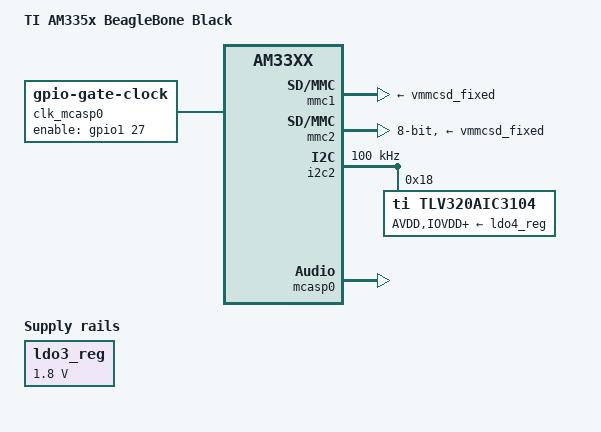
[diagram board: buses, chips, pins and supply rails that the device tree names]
/*
 * Copyright (C) 2012 Texas Instruments Incorporated - http://www.ti.com/
 *
 * This program is free software; you can redistribute it and/or modify
 * it under the terms of the GNU General Public License version 2 as
 * published by the Free Software Foundation.
 */
/dts-v1/;

#include "am33xx.dtsi"
#include "am335x-bone-common.dtsi"

/ {
	model = "TI AM335x BeagleBone Black";
	compatible = "ti,am335x-bone-black", "ti,am335x-bone", "ti,am33xx";
};

&ldo3_reg {
	regulator-min-microvolt = <1800000>;
	regulator-max-microvolt = <1800000>;
	regulator-always-on;
};

&mmc1 {
	vmmc-supply = <&vmmcsd_fixed>;
};

&mmc2 {
	vmmc-supply = <&vmmcsd_fixed>;
	pinctrl-names = "default";
	pinctrl-0 = <&emmc_pins>;
	bus-width = <8>;
	status = "okay";
};

&am33xx_pinmux {
	i2c2_pins: pinmux_i2c2_pins {
		pinctrl-single,pins = <
			0x150 0x72 	/*spi0_scl.i2c2_sda,SLEWCTRL_SLOW | INPUT_PULLUP |MODE2*/
			0x154 0x72	/*spi0_d0.i2c2_scl,SLEWCTRL_SLOW | INPUT_PULLUP | MODE2*/
		>;
	};

	bone_audio_cape_audio_pins: pinmux_bone_audio_cape_audio_pins {
		pinctrl-single,pins = <
			0x1ac 0x00      /* mcasp0_ahclkx,             MODE0 | INPUT */
			0x19c 0x22		/* mcasp0_ahclkr, */
			0x194 0x20      /* mcasp0_fsx,         	      MODE0 | OUTPUT  */
			0x190 0x20      /* mcasp0_aclkr.mcasp0_aclkx, MODE0 | OUTPUT_PULLDOWN */
			0x198 0x20
		>;
	};
};

&i2c2 {
	#address-cells = <1>;
	#size-cells = <0>;
	clock-frequency = <100000>;
	status = "okay";
	pinctrl-names = "default";
	pinctrl-0 = <&i2c2_pins>;

	tlv320aic3104: tlv320aic3104@18 {
		compatible = "ti,tlv320aic3104";
		reg = <0x18>;

		AVDD-supply = <&ldo4_reg>;
		IOVDD-supply = <&ldo4_reg>;
		DRVDD-supply = <&ldo4_reg>;
		DVDD-supply = <&ldo4_reg>;
	};
};

&mcasp0	{
	pinctrl-names = "default";
	pinctrl-0 = <&bone_audio_cape_audio_pins>;
	status = "okay";
	op-mode = <0>;	/* MCASP_IIS_MODE */
	tdm-slots = <2>;
	serial-dir = <  /* 0: INACTIVE, 1: TX, 2: RX */
		2 0 1 0
		0 0 0 0
		0 0 0 0
		0 0 0 0
	>;
	tx-num-evt = <1>;
	rx-num-evt = <1>;
};

/ {
	clk_mcasp0_fixed: clk_mcasp0_fixed {
	      #clock-cells = <0>;
	      compatible = "fixed-clock";
	      clock-frequency = <12000000>;
	};

	clk_mcasp0: clk_mcasp0 {
	      #clock-cells = <0>;
	      compatible = "gpio-gate-clock";
	      clocks = <&clk_mcasp0_fixed>;
	      enable-gpios = <&gpio1 27 0>; /* BeagleBone Black Clk enable on GPIO1_27 */
	};

	sound {
		compatible = "ti,beaglebone-black-audio";
		ti,model = "TI BeagleBone Black";
		ti,audio-codec = <&tlv320aic3104>;
		ti,mcasp-controller = <&mcasp0>;
		ti,audio-routing =
			"Headphone Jack",       "HPLOUT",
			"Headphone Jack",       "HPROUT",
			"LINE1L",               "Line In",
			"LINE1R",               "Line In";
		clocks = <&clk_mcasp0>;
		clock-names = "mclk";
	};
};
